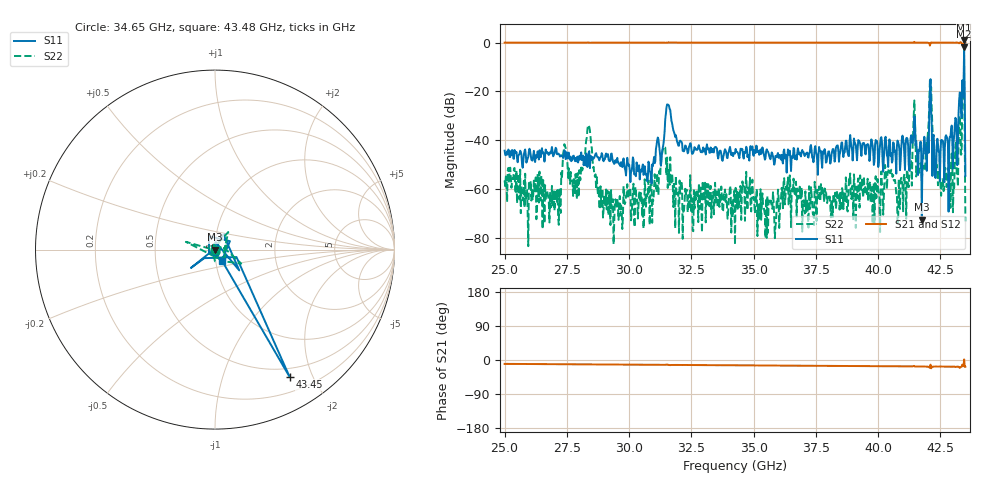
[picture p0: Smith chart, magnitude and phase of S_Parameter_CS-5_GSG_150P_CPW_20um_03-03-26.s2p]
!Keysight Technologies,N5224A,MY55441802,A.10.65.16
!Date: Tuesday, March 03, 2026 16:29:42
!Correction: S11(Full 2 Port(1,2))
!S21(Full 2 Port(1,2))
!S12(Full 2 Port(1,2))
!S22(Full 2 Port(1,2))
!S2P File: Measurements: S11, S21, S12, S22:
# Hz S  dB  R 50
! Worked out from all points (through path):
!   741 points, 25 GHz to 43.5 GHz, reference 50 ohm
!   highest |S21| = 0.89 dB at 43.45 GHz (marker M1); lowest = -1.7 dB at 43.42 GHz (marker M2)
!   group delay of S21, straight-line fit = 1.12 ps
!   lowest |S11| = -72.6 dB at 41.75 GHz (marker M3), VSWR 1.00, Z = 50 + j0.0206 ohm
!   |S11| at or under -10 dB: start of sweep to 43.44 GHz; 43.45988 GHz to end of sweep
!   |S22| runs from -83.5 to -15.5 dB; largest |S21 - S12| = 0.16
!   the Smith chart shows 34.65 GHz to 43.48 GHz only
!   S11 on the Smith chart (normalised r, x): 34.65 GHz: 1.00, -0.01; 43.45 GHz: 0.38, -1.68; 43.48 GHz: 1.07, -0.13
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2.5e10  -44.30 117.5  0.01 -10.3  0.00 -10.3  -56.55 -26.4
2.7175e10  -45.59 149.1  0.00 -11.1  -0.01 -11.1  -74.73 -43.0
2.7425e10  -44.63 -120.3  -0.02 -11.4  -0.03 -11.4  -42.41 96.8
2.81e10  -48.18 97.2  0.00 -11.4  -0.01 -11.5  -52.47 -169.4
2.8375e10  -45.13 -55.3  0.01 -11.8  -0.00 -11.9  -34.05 -121.1
2.9325e10  -47.46 38.0  0.01 -12.0  -0.01 -12.0  -66.73 174.6
3.1175e10  -39.58 31.3  0.01 -12.8  -0.01 -12.8  -62.48 66.1
3.1575e10  -25.53 71.4  0.10 -12.9  0.06 -12.9  -52.26 -124.4
3.2225e10  -43.94 152.8  0.00 -13.1  -0.02 -13.2  -65.67 -34.2
3.425e10  -45.53 -161.7  -0.00 -14.0  -0.01 -14.0  -82.85 27.2
3.465e10  -45.29 -107.0  0.01 -14.1  -0.01 -14.1  -73.05 -42.4
3.735e10  -47.21 155.8  0.00 -15.2  -0.01 -15.2  -65.86 -57.8
4.0425e10  -43.05 79.4  -0.02 -16.5  -0.04 -16.5  -51.50 -62.9
4.08e10  -40.84 -18.0  0.00 -16.7  -0.01 -16.7  -73.02 46.8
4.145e10  -30.24 -124.1  0.32 -16.0  -0.32 -16.9  -23.71 -90.4
4.175e10  -72.59 118.7  -0.00 -17.1  -0.02 -17.1  -56.87 -61.0
4.21e10  -14.98 -40.6  -0.33 -12.2  -1.61 -9.2  -22.54 -58.9
4.2575e10  -40.04 -48.4  -0.00 -17.5  -0.01 -17.4  -55.99 121.9
4.3425e10  -17.94 -19.2  -1.65 -16.3  -0.52 -15.6  -20.61 -49.8
4.345e10  -1.70 -59.6  0.89 1.6  1.88 -2.7  -15.50 165.0
4.3475e10  -22.70 -57.8  0.14 -18.4  0.17 -18.2  -41.73 -36.9
4.35e10  -54.61 -11.3  0.00 -17.8  -0.01 -17.8  -73.31 148.6
